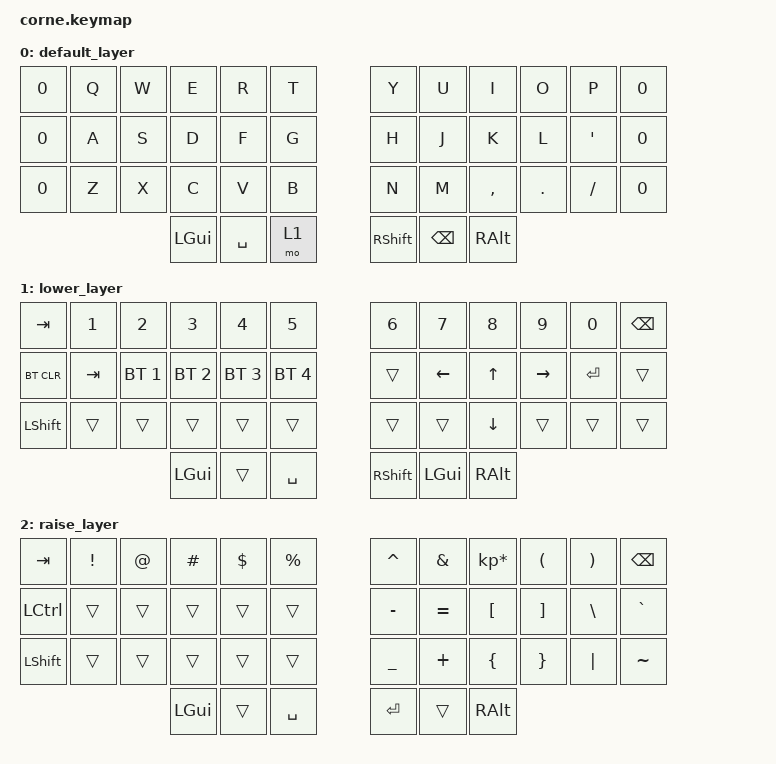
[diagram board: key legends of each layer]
/*
 * Copyright (c) 2020 The ZMK Contributors
 *
 * SPDX-License-Identifier: MIT
 */
#include <behaviors.dtsi>
#include <dt-bindings/zmk/keys.h>
#include <dt-bindings/zmk/bt.h>
/ {
        keymap {
                compatible = "zmk,keymap";
                default_layer {
// -----------------------------------------------------------------------------------------
// |  Q  |  W  |  E  |  R  |  T  |   |  Y  |  U   |  I  |  O  |  P  |
// |  A  |  S  |  D  |  F  |  G  |   |  H  |  J   |  K  |  L  |  '  |
// |  Z  |  X  |  C  |  V  |  B  |   |  N  |  M   |  ,  |  .  |  /  |
//             | GUI | SPC | LWR |   | RET |  BSPC | ALT |
                        bindings = <
&kp 0 &kp Q &kp W &kp E &kp R &kp T   &kp Y &kp U  &kp I     &kp O   &kp P    &kp 0
&kp 0 &kp A &kp S &kp D &kp F &kp G   &kp H &kp J  &kp K     &kp L   &kp APOS &kp 0
&kp 0 &kp Z &kp X &kp C &kp V &kp B   &kp N &kp M  &kp COMMA &kp DOT &kp FSLH &kp 0
           &kp LGUI &kp SPACE &mo 1   &kp RSHIFT &kp BSPC &kp RALT
                        >;
                };
                lower_layer {
// -----------------------------------------------------------------------------------------
// |  1  |  2  |  3  |  4  |  5  |   |  6  |  7  |  8  |  9  |  0  |
// | TAB | BT2 | BT3 | BT4 | BT5 |   |     | LFT |  UP | RGT | RET |
// |     |     |     |     |     |   |     |     | DWN |     |     |
//             | GUI |     |     |   | SHFT| CMD |     |
                        bindings = <
   &kp TAB    &kp N1       &kp N2       &kp N3       &kp N4       &kp N5         &kp N6   &kp N7   &kp N8 &kp N9    &kp N0 &kp BSPC
   &bt BT_CLR &kp TAB      &bt BT_SEL 1 &bt BT_SEL 2 &bt BT_SEL 3 &bt BT_SEL 4   &trans   &kp LEFT &kp UP &kp RIGHT &kp RET &trans
   &kp LSHFT  &trans       &trans       &trans       &trans       &trans         &trans   &trans   &kp DOWN   &trans &trans &trans
                          	        &kp LGUI     &trans       &kp SPACE      &kp RSHIFT  &kp LGUI   &kp RALT
                        >;
                };
                raise_layer {
// -----------------------------------------------------------------------------------------
// |  TAB |  !  |  @  |  #  |  $  |  %  |   |  ^  |  &  |  *  |  (  |  )  | BKSP |
// | CTRL |     |     |     |     |     |   |  -  |  =  |  [  |  ]  |  \  |  `   |
// | SHFT |     |     |     |     |     |   |  _  |  +  |  {  |  }  | "|" |  ~   |
//                    | GUI |     | SPC |   | ENT |     | ALT |
                        bindings = <
   &kp  TAB  &kp EXCL &kp AT &kp HASH &kp DLLR &kp PRCNT   &kp CARET &kp AMPS  &kp KP_MULTIPLY &kp LPAR &kp RPAR &kp BSPC
   &kp LCTRL &trans   &trans &trans   &trans   &trans      &kp MINUS &kp EQUAL &kp LBKT        &kp RBKT &kp BSLH &kp GRAVE
   &kp LSHFT &trans   &trans &trans   &trans   &trans      &kp UNDER &kp PLUS  &kp LBRC        &kp RBRC &kp PIPE &kp TILDE
                    	     &kp LGUI &trans   &kp SPACE   &kp RET   &trans    &kp RALT
                        >;
                };
        };
};
